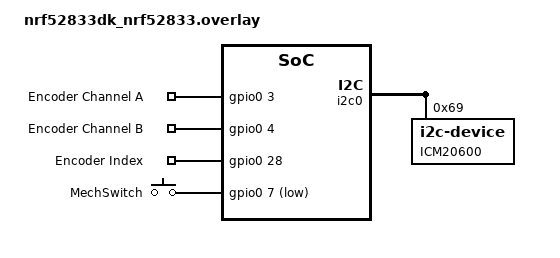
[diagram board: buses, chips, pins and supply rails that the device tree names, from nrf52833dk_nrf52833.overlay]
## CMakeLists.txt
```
#
# Copyright (c) 2020 Nordic Semiconductor ASA
#
# SPDX-License-Identifier: LicenseRef-Nordic-5-Clause
#

cmake_minimum_required(VERSION 3.20.0)

find_package(Zephyr REQUIRED HINTS $ENV{ZEPHYR_BASE})

project(openthread_coap_server)
add_compile_options(-Wno-unknown-warning-option)

FILE(GLOB app_sources src/*.c)
# NORDIC SDK APP START
target_sources(app PRIVATE ${app_sources})

target_include_directories(app PRIVATE interface)


# Caleb's secret nvim sauce
set(CMAKE_EXPORT_COMPILE_COMMANDS ON)
# NORDIC SDK APP END
target_sources(app PRIVATE src/ICM20600.h)
```

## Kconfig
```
#
# Copyright (c) 2020 Nordic Semiconductor ASA
#
# SPDX-License-Identifier: LicenseRef-Nordic-5-Clause
#

menu "Zephyr Kernel"
source "Kconfig.zephyr"
endmenu

module = COAP_SERVER
module-str = CoAP server
source "${ZEPHYR_BASE}/subsys/logging/Kconfig.template.log_config"

module = OT_COAP_UTILS
module-str = OpenThread CoAP utils
source "${ZEPHYR_BASE}/subsys/logging/Kconfig.template.log_config"

module = COAP_CLIENT_UTILS
module-str = CoAP client utilities
source "${ZEPHYR_BASE}/subsys/logging/Kconfig.template.log_config"

module = IMU
module-str = IMU 20600
source "${ZEPHYR_BASE}/subsys/logging/Kconfig.template.log_config"

module = ENCODER
module-str = Encoder AEDB_9140
source "${ZEPHYR_BASE}/subsys/logging/Kconfig.template.log_config"
```

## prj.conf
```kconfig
#
# Copyright (c) 2020 Nordic Semiconductor
#
# SPDX-License-Identifier: LicenseRef-Nordic-5-Clause
#

# nRF board library
CONFIG_DK_LIBRARY=y

# Enable OpenThread CoAP support API
CONFIG_OPENTHREAD_COAP=y

# Network shell
#CONFIG_SHELL=y
#CONFIG_OPENTHREAD_SHELL=y
#CONFIG_SHELL_ARGC_MAX=26
#CONFIG_SHELL_CMD_BUFF_SIZE=416

# Network sockets
CONFIG_NET_SOCKETS=y
CONFIG_NET_SOCKETS_POSIX_NAMES=y
CONFIG_NET_SOCKETS_POLL_MAX=4

# Same network Master Key for client and server
CONFIG_OPENTHREAD_NETWORKKEY="00:11:22:33:44:55:66:77:88:99:aa:bb:cc:dd:ee:ff"

# L2 OpenThread enabling
CONFIG_NET_L2_OPENTHREAD=y

# Generic networking options
CONFIG_NETWORKING=y

CONFIG_MBEDTLS_SHA1_C=n
CONFIG_FPU=y
#My extras
CONFIG_LOG=y
CONFIG_COAP_SERVER_LOG_LEVEL_DBG=y
CONFIG_OT_COAP_UTILS_LOG_LEVEL_DBG=y

CONFIG_HEAP_MEM_POOL_SIZE=2048

# Sam's extras
#CONFIG_I2C=y
#CONFIG_IMU_LOG_LEVEL_DBG=y
# Stuff for encoder
CONFIG_GPIO=y
CONFIG_NEWLIB_LIBC=y
CONFIG_NEWLIB_LIBC_FLOAT_PRINTF=y
CONFIG_ENCODER_LOG_LEVEL_INF=y

# Enable channel management
CONFIG_OPENTHREAD_CHANNEL_MONITOR=y
CONFIG_OPENTHREAD_CHANNEL_MANAGER=y
# Stuff for checking which channel we're in seperately.
CONFIG_NRF_802154_RADIO_CONFIG=y
CONFIG_NRF_802154_RADIO_DRIVER=y

# Client server stuff
CONFIG_LOG=y
CONFIG_COAP_CLIENT_UTILS_LOG_LEVEL_DBG=y

# Enable CoAP utils and CoAP protocol
CONFIG_COAP_UTILS=y

#Bogdan Flash usage
#CONFIG_FLASH=y

#Luke Uart
CONFIG_SERIAL=y
CONFIG_UART_ASYNC_API=y
```

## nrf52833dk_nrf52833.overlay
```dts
// To get started, press Ctrl+Space to bring up the completion menu and view the available nodes.

// You can also use the buttons in the sidebar to perform actions on nodes.
// Actions currently available include:

// * Enabling / disabling the node
// * Adding the bus to a bus
// * Removing the node
// * Connecting ADC channels

// For more help, browse the DeviceTree documentation at https://docs.zephyrproject.org/latest/guides/dts/index.html
// You can also visit the nRF DeviceTree extension documentation at https://nrfconnect.github.io/vscode-nrf-connect/devicetree/nrfdevicetree.html

&i2c0 {
    ICM20600: ICM20600@69 {
        compatible = "i2c-device";
        reg = < 0x69 >;
        label = "ICM20600";
    };
};
/ {
    encoder {
        compatible = "gpio-keys";
        encodercha: encoder_cha {
            gpios = < &gpio0 3 GPIO_ACTIVE_HIGH>;
            label = "Encoder Channel A";
        };
        encoderchb: encoder_chb {
            gpios = < &gpio0 4 GPIO_ACTIVE_HIGH>;
            label = "Encoder Channel B";
        };
        encoderindex: encoder_index {
            gpios = < &gpio0 28 GPIO_ACTIVE_HIGH>;
            label = "Encoder Index";
        };
    };
    externalswitches {
        compatible = "gpio-keys";
        mechswitch: Mech_Switch {
            gpios = < &gpio0 7 0x11>;
            label = "MechSwitch";
        };
    };
};
```

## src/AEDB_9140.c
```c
#include "AEDB_9140.h"
#include "zephyr/kernel.h"
#include <math.h>
#include <zephyr/device.h>
#include <zephyr/drivers/gpio.h>
//#include <zephyr/logging/log.h>

//LOG_MODULE_REGISTER(encoder, CONFIG_ENCODER_LOG_LEVEL);
static const struct gpio_dt_spec ChannelA_Encoder =
    GPIO_DT_SPEC_GET(DT_NODELABEL(encodercha), gpios);
static const struct gpio_dt_spec ChannelB_Encoder =
    GPIO_DT_SPEC_GET(DT_NODELABEL(encoderchb), gpios);
static const struct gpio_dt_spec ChannelI_Encoder =
    GPIO_DT_SPEC_GET(DT_NODELABEL(encoderindex), gpios);

static struct gpio_callback encoderA_callback;
static struct gpio_callback encoderB_callback;
static struct gpio_callback encoderI_callback;

static const int QEM[4][4] = {{0, -1, 1, 2},
                              {1, 0, 2, -1},
                              {-1, 2, 0, 1},
                              {2, 1, -1, 0}}; // Quadrature Encoder Matrix
int state = 0;
int oldState = 0;
int32_t position = 0;
int32_t position_prevfullrev = 0;
int32_t FullResolutionPositionCount = 0;
int32_t intVel = 0;
float floatVel = 0.0f;
int32_t intAcc = 0;
float floatAcc = 0.0f;

int aState = 0;
int bState = 0;

int32_t getIntVel(void) { return intVel; }
float getFloatVel(void) { return floatVel; }
int32_t getIntAcc(void) { return intAcc; }
float getFloatAcc(void) { return floatAcc; }
// TODO: Hold setPosition accountable to FullRotationCounter,
// prioritise FullRotationCounter readings over setposition ones, as will be
// more accurate due to less interrupts.

// NOTE: Check if splitting set position so it doesn't rely on gpio_checks makes
// it work better, e.g. one func for up on A, one for done on A, same for B etc.
// Don't seem to be able to have two seperate callbacks for one pin.

// NOTE: Reimplement callbacks to be specific to the callback type. Seems to
// take in an integer, which might be up/down information? Documentation
// suggests it's just an inbetween, doesn't actually give info to the function.

// NOTE: Disabled full rotation counting temporarily, as interrupt happens very
// close to other needed ones.

void setPosition(struct k_work *work) {
  static int oldState = 0;
  state = (bState << 1) + aState;
  position += QEM[state][oldState];
  // return state, oldState, position;
  oldState = state;
}
K_WORK_DEFINE(setPosition_work, setPosition);
void aChange() {
  aState = gpio_pin_get_dt(&ChannelA_Encoder);
  k_work_submit(&setPosition_work);
}
void bChange() {
  bState = gpio_pin_get_dt(&ChannelB_Encoder);
  k_work_submit(&setPosition_work);
}

void FullRotationCounter() {
  FullResolutionPositionCount = position - position_prevfullrev;
  position_prevfullrev = position;
  // printf("Full Rotation Counter: %d",FullResolutionPositionCount);
  // return FullResolutionPositionCount, position_prev;
}

void measure(struct k_work *work) {
  static uint8_t count = 0;
  setVelocity();
  if (count % 2 == 0) {
    setAcceleration();
  }
  //LOG_DBG("Vel: %f Acc: %f", floatVel, floatAcc);
}
K_WORK_DEFINE(measure_work, measure);

void measureInterrupt(struct k_timer *timer_id) {
  k_work_submit(&measure_work);
}
K_TIMER_DEFINE(measureTime, measureInterrupt, NULL);

void Setup_interrupt(void) {
  gpio_pin_interrupt_configure_dt(&ChannelA_Encoder, GPIO_INT_EDGE_BOTH);
  gpio_pin_interrupt_configure_dt(&ChannelB_Encoder, GPIO_INT_EDGE_BOTH);
  // gpio_pin_interrupt_configure_dt(&ChannelI_Encoder,
  // GPIO_INT_EDGE_TO_ACTIVE);
  gpio_init_callback(&encoderA_callback, aChange, BIT(ChannelA_Encoder.pin));
  gpio_add_callback(ChannelA_Encoder.port, &encoderA_callback);
  gpio_init_callback(&encoderB_callback, bChange, BIT(ChannelB_Encoder.pin));
  gpio_add_callback(ChannelB_Encoder.port, &encoderB_callback);
  // gpio_init_callback(&encoderI_callback, FullRotationCounter,
  //                    BIT(ChannelI_Encoder.pin));
  // gpio_add_callback(ChannelI_Encoder.port, &encoderI_callback);
  k_timer_start(&measureTime, K_SECONDS(0), K_MSEC(ENCODER_SAMPLE_PERIOD_MS));
}

void resetPosition(int32_t in) { position = in; return; }

int32_t getPosition(void) { return position; }
// TODO: setVelocity/setAcceleration should do calculations based on the REAL
// time not the time it thinks has passed. E.I. record time and get difference
// from last call.

// Should be called every period.
void setVelocity(void) {
  static int32_t previousPosition = 0;
  intVel = position - previousPosition;
  floatVel =
      (float)intVel * (40.85E-6) / (float)ENCODER_SAMPLE_PERIOD_MS * 1000.0f;
  previousPosition = position;
}
// Should be called every 3rd period.
void setAcceleration(void) {
  static int32_t previousVelocity = 0;
  static float previousFloatVel = 0;
  intAcc = intVel - previousVelocity;
  floatAcc = (floatVel - previousFloatVel) / (float)ENCODER_SAMPLE_PERIOD_MS /
             3.0f * 1000.0f;
  previousVelocity = intVel;
  previousFloatVel = floatVel;
}

void encoderTestLoop(void) {
  for (int i = 1;; i++) {
    //LOG_DBG("Pos: %d, Vel: %.3f, Acc: %3f\n", getPosition(), getFloatVel(),
           // getFloatAcc());
    k_msleep((int32_t)(ENCODER_SAMPLE_PERIOD_MS * 1000.0f));
    LOG_DBG("Pos: %d, Vel: %.3f, Acc: %3f\n", getPosition(), getFloatVel(),
            getFloatAcc());
    k_msleep((int32_t)(ENCODER_SAMPLE_PERIOD_MS));
    setVelocity();
    if (i % 3 == 0) {
      setAcceleration();
      i = 0;
    }
  }
}
```

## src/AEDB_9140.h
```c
#ifndef AEDB_9140_H
#define AEDB_9140_H
/*
    AEDB-9140 Encoder Header File
    Created By Samuel Walton
    Editted by Caleb Evans
    The University of Manchester
    Steps for use on Nordic NRF52833 Board
    1. Add Inputs for three pins in Device Trees in Overlay file
    2. Add this header file to target sources in "CMakeLists.txt" as
   "target_sources(app PRIVATE src/AEDB-9140.h)"
    3. Include this header file in main.c

*/
#include <zephyr/kernel.h>

#define ENCODER_SAMPLE_PERIOD_MS 100

int32_t getIntVel(void);
float getFloatVel(void);
int32_t getIntAcc(void);
float getFloatAcc(void);
int32_t getPosition(void);
void resetPosition(int32_t in);

void Setup_interrupt(void);
void encoderTestLoop(void);

// Should be called every period.
void setVelocity(void);
// Should be called every 3rd period.
void setAcceleration(void);

#endif
```

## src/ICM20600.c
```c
#include <zephyr/kernel.h>
#include <zephyr/logging/log.h>
#include <zephyr/drivers/i2c.h>

#include "ICM20600.h"

/***************************************************************
    ICM20600 I2C Register
 ***************************************************************/
#define ICM20600_XG_OFFS_TC_H           0x04
#define ICM20600_XG_OFFS_TC_L           0x05
#define ICM20600_YG_OFFS_TC_H           0x07
#define ICM20600_YG_OFFS_TC_L           0x08
#define ICM20600_ZG_OFFS_TC_H           0x0a
#define ICM20600_ZG_OFFS_TC_L           0x0b
#define ICM20600_SELF_TEST_X_ACCEL      0x0d
#define ICM20600_SELF_TEST_Y_ACCEL      0x0e
#define ICM20600_SELF_TEST_Z_ACCEL      0x0f
#define ICM20600_XG_OFFS_USRH           0x13
#define ICM20600_XG_OFFS_USRL           0x14
#define ICM20600_YG_OFFS_USRH           0x15
#define ICM20600_YG_OFFS_USRL           0x16
#define ICM20600_ZG_OFFS_USRH           0x17
#define ICM20600_ZG_OFFS_USRL           0x18
#define ICM20600_SMPLRT_DIV             0x19
#define ICM20600_CONFIG                 0x1a
#define ICM20600_GYRO_CONFIG            0x1b
#define ICM20600_ACCEL_CONFIG           0x1c
#define ICM20600_ACCEL_CONFIG2          0x1d
#define ICM20600_GYRO_LP_MODE_CFG       0x1e
#define ICM20600_ACCEL_WOM_X_THR        0x20
#define ICM20600_ACCEL_WOM_Y_THR        0x21
#define ICM20600_ACCEL_WOM_Z_THR        0x22
#define ICM20600_FIFO_EN                0x23
#define ICM20600_FSYNC_INT              0x36
#define ICM20600_INT_PIN_CFG            0x37
#define ICM20600_INT_ENABLE             0x38
#define ICM20600_FIFO_WM_INT_STATUS     0x39
#define ICM20600_INT_STATUS             0x3a
#define ICM20600_ACCEL_XOUT_H           0x3b
#define ICM20600_ACCEL_XOUT_L           0x3c
#define ICM20600_ACCEL_YOUT_H           0x3d
#define ICM20600_ACCEL_YOUT_L           0x3e
#define ICM20600_ACCEL_ZOUT_H           0x3f
#define ICM20600_ACCEL_ZOUT_L           0x40
#define ICM20600_TEMP_OUT_H             0x41
#define ICM20600_TEMP_OUT_L             0x42
#define ICM20600_GYRO_XOUT_H            0x43
#define ICM20600_GYRO_XOUT_L            0x44
#define ICM20600_GYRO_YOUT_H            0x45
#define ICM20600_GYRO_YOUT_L            0x46
#define ICM20600_GYRO_ZOUT_H            0x47
#define ICM20600_GYRO_ZOUT_L            0x48
#define ICM20600_SELF_TEST_X_GYRO       0x50
#define ICM20600_SELF_TEST_Y_GYRO       0x51
#define ICM20600_SELF_TEST_Z_GYRO       0x52
#define ICM20600_FIFO_WM_TH1            0x60
#define ICM20600_FIFO_WM_TH2            0x61
#define ICM20600_SIGNAL_PATH_RESET      0x68
#define ICM20600_ACCEL_INTEL_CTRL       0x69
#define ICM20600_USER_CTRL              0x6A
#define ICM20600_PWR_MGMT_1             0x6b
#define ICM20600_PWR_MGMT_2             0x6c
#define ICM20600_I2C_IF                 0x70
#define ICM20600_FIFO_COUNTH            0x72
#define ICM20600_FIFO_COUNTL            0x73
#define ICM20600_FIFO_R_W               0x74
#define ICM20600_WHO_AM_I               0x75
#define ICM20600_XA_OFFSET_H            0x77
#define ICM20600_XA_OFFSET_L            0x78
#define ICM20600_YA_OFFSET_H            0x7a
#define ICM20600_YA_OFFSET_L            0x7b
#define ICM20600_ZA_OFFSET_H            0x7d
#define ICM20600_ZA_OFFSET_L            0x7e

#define ICM20600_I2C_ADDR1              0x68
#define ICM20600_I2C_ADDR2              0x69

#define ICM20600_FIFO_EN_BIT            (1 << 6)
#define ICM20600_FIFO_RST_BIT           (1 << 2)
#define ICM20600_RESET_BIT              (1 << 0)
#define ICM20600_DEVICE_RESET_BIT       (1 << 7)

#define I2C0_NODE DT_NODELABEL(icm20600)

LOG_MODULE_REGISTER(imu, CONFIG_IMU_LOG_LEVEL);

// Gyroscope scale range
enum gyro_scale_type_t {
    RANGE_250_DPS = 0,
    RANGE_500_DPS,
    RANGE_1K_DPS,
    RANGE_2K_DPS,
};

// Accelerometer scale range
enum acc_scale_type_t {
    RANGE_2G = 0,
    RANGE_4G,
    RANGE_8G,
    RANGE_16G,
};

// Gyroscope output data rate
enum gyro_lownoise_odr_type_t {
    GYRO_RATE_8K_BW_3281 = 0,
    GYRO_RATE_8K_BW_250,
    GYRO_RATE_1K_BW_176,
    GYRO_RATE_1K_BW_92,
    GYRO_RATE_1K_BW_41,
    GYRO_RATE_1K_BW_20,
    GYRO_RATE_1K_BW_10,
    GYRO_RATE_1K_BW_5,
};

// Accelerometer output data rate
enum acc_lownoise_odr_type_t {
    ACC_RATE_4K_BW_1046 = 0,
    ACC_RATE_1K_BW_420,
    ACC_RATE_1K_BW_218,
    ACC_RATE_1K_BW_99,
    ACC_RATE_1K_BW_44,
    ACC_RATE_1K_BW_21,
    ACC_RATE_1K_BW_10,
    ACC_RATE_1K_BW_5,
};

// Averaging filter settings for Low Power Accelerometer mode
enum acc_averaging_sample_type_t {
    ACC_AVERAGE_4 = 0,
    ACC_AVERAGE_8,
    ACC_AVERAGE_16,
    ACC_AVERAGE_32,
};

// Averaging filter configuration for low-power gyroscope mode
enum gyro_averaging_sample_type_t {
    GYRO_AVERAGE_1 = 0,
    GYRO_AVERAGE_2,
    GYRO_AVERAGE_4,
    GYRO_AVERAGE_8,
    GYRO_AVERAGE_16,
    GYRO_AVERAGE_32,
    GYRO_AVERAGE_64,
    GYRO_AVERAGE_128,
};

// ICM20600 power mode
enum icm20600_power_type_t {
    ICM_SLEEP_MODE = 0,
    ICM_STANDYBY_MODE,
    ICM_ACC_LOW_POWER,
    ICM_ACC_LOW_NOISE,
    ICM_GYRO_LOW_POWER,
    ICM_GYRO_LOW_NOISE,
    ICM_6AXIS_LOW_POWER,
    ICM_6AXIS_LOW_NOISE,
};


//LOG_MODULE_DECLARE(imu, CONFIG_IMU_LOG_LEVEL);

int32_t Acc_x, Acc_y, Acc_z, Gyro_x, Gyro_y, Gyro_z;
int16_t Temp;
static const struct i2c_dt_spec dev_i2c = I2C_DT_SPEC_GET(I2C0_NODE);
int ret;
int8_t Buffer[16] = {0};
uint16_t _acc_scale, _gyro_scale;


uint16_t ICM20600_startup(void)
{
    printk("Starting...\n");//I2C_SPEED_GET(cfg)
    if (device_is_ready(dev_i2c.bus)) {
	printk("I2C bus %X is ready!\n\r",(uint32_t)(dev_i2c.bus->name));
    }
    

    // Get the Device ID
	ret = i2c_reg_read_byte_dt(&dev_i2c,ICM20600_WHO_AM_I,Buffer);
    printk("Stage: Config\n"); 
	ret = i2c_reg_write_byte_dt(&dev_i2c,ICM20600_CONFIG,0x00);

	// disable fifo: 1K byte FIFO buffer enables the applications processor to read the data in bursts

    printk("Stage: disabling fifo\n"); 
	ret = i2c_reg_write_byte_dt(&dev_i2c,ICM20600_FIFO_EN,0x00);
	
    //Set Power 
    uint8_t data_pwr1;
    uint8_t data_pwr2 = 0x00;
    uint8_t data_gyro_lp;
    printk("Stage: Setting Power\n"); 
    ret = i2c_reg_read_byte_dt(&dev_i2c,ICM20600_PWR_MGMT_1,Buffer); // _addr, ICM20600_PWR_MGMT_1, Buffer
    printk("Power Management 1: %X\n",Buffer[0]);
    data_pwr1 = Buffer[0];
    data_pwr1 &= 0x8f;                  // 0b10001111
    ret = i2c_reg_read_byte_dt(&dev_i2c,ICM20600_GYRO_LP_MODE_CFG,Buffer);
    printk("Power Management 2: %X\n",Buffer[0]);
    data_gyro_lp = Buffer[0];
    // When set to ‘1’ low-power gyroscope mode is enabled. Default setting is 0
    data_gyro_lp &= 0x7f;               // 0b01111111
    data_pwr1 |= 0x00;          // dont set bit5 0b00100000
    data_gyro_lp |= 0x80;        // set 0b01000000


    printk("Gyro Low Power: %X\n",data_gyro_lp);
    printk("Stage: Setting Power mode 1\n");
    ret = i2c_reg_write_byte_dt(&dev_i2c,ICM20600_PWR_MGMT_1,data_pwr1);
    printk("Stage: Setting Power mode 2\n");
    ret = i2c_reg_write_byte_dt(&dev_i2c,ICM20600_PWR_MGMT_2,data_pwr2);
    printk("Stage: Setting low power mode for Gyro \n");
    ret = i2c_reg_write_byte_dt(&dev_i2c,ICM20600_GYRO_LP_MODE_CFG,data_gyro_lp);
    
    // Gyro Config
    printk("Stage: reading Gyro Config \n");
    uint8_t data = 0;
    ret = i2c_reg_read_byte_dt(&dev_i2c,ICM20600_GYRO_CONFIG,Buffer);
    printk("Gyro Config: %X\n",Buffer[0]);
    data = Buffer[0];
    data &= 0xe7; // 0b11100111
    data |= 0x18;   // 0bxxx11xxx
    _gyro_scale = 4000;


    printk("Stage: Setting Gyro Config \n");
    ret = i2c_reg_write_byte_dt(&dev_i2c,ICM20600_GYRO_CONFIG,data);
    data = 0;
     ret = i2c_reg_read_byte_dt(&dev_i2c,ICM20600_CONFIG,Buffer);
     printk("Gyro Config: %X\n",Buffer[0]);
    data = Buffer[0];
    data &= 0xf8;
    data |= 0x01;
    printk("Stage: Setting I2c device config \n");
    ret = i2c_reg_write_byte_dt(&dev_i2c,ICM20600_CONFIG,data);
    data = 0;
    ret = i2c_reg_read_byte_dt(&dev_i2c,ICM20600_GYRO_LP_MODE_CFG,Buffer);
    printk("Gyro Config lp mode cfg(maybe 0): %X\n",Buffer[0]);
    data = Buffer[0];
    data &= 0x8f;  
    data |= 0x00;         // 0b10001111
    printk("Stage: Setting setting i2c gyro config \n");
    ret = i2c_reg_write_byte_dt(&dev_i2c,ICM20600_GYRO_CONFIG,data);
    // accel config
    data = 0;
    printk("Stage: Setting i2c accel config \n");
    ret = i2c_reg_read_byte_dt(&dev_i2c,ICM20600_ACCEL_CONFIG,Buffer);
    printk("Gyro Accleration Config: %X\n",Buffer[0]);
    data = Buffer[0];
    data &= 0xe7;
    data |= 0x18;   // 0bxxx11xxx
    _acc_scale = 32000;
    printk("Gyro Accleration Config set point: %X\n",data);
    ret = i2c_reg_write_byte_dt(&dev_i2c,ICM20600_ACCEL_CONFIG,data);
    data = 0;
    ret = i2c_reg_read_byte_dt(&dev_i2c,ICM20600_ACCEL_CONFIG2,Buffer);
    printk("Gyro Accleration Config: %X\n",Buffer[0]);
    data = Buffer[0];
    data &= 0xf0;  // 0b11110000
    data |= 0x07;
    ret = i2c_reg_write_byte_dt(&dev_i2c,ICM20600_ACCEL_CONFIG2, data);
    data = 0;
    ret = i2c_reg_read_byte_dt(&dev_i2c,ICM20600_ACCEL_CONFIG2,Buffer);
    printk("Gyro Accleration Config 2: %X\n",Buffer[0]);
    data = Buffer[0];
    data &= 0xcf; // & 0b11001111
    data |= 0x00;
    ret = i2c_reg_write_byte_dt(&dev_i2c,ICM20600_ACCEL_CONFIG2,data);
    return _acc_scale, _gyro_scale;
}

int32_t getRawAccelerationX(void) {
    ret = i2c_reg_read_byte_dt(&dev_i2c,ICM20600_ACCEL_XOUT_H,Buffer);
    int32_t raw_data = ((int16_t)Buffer[0] << 8) + Buffer[1];
    raw_data = (raw_data * _acc_scale) >> 16;
    return (int16_t)raw_data*9.81;
}

int32_t getRawAccelerationY(void) {
    ret = i2c_reg_read_byte_dt(&dev_i2c,ICM20600_ACCEL_YOUT_H,Buffer);
    int32_t raw_data = ((int16_t)Buffer[0] << 8) + Buffer[1];
    raw_data = (raw_data * _acc_scale) >> 16;
    return (int16_t)raw_data*9.81;
}

int32_t getRawAccelerationZ(void) {
    ret = i2c_reg_read_byte_dt(&dev_i2c,ICM20600_ACCEL_ZOUT_H,Buffer);
    int32_t raw_data = ((int16_t)Buffer[0] << 8) + Buffer[1];
    raw_data = (raw_data * _acc_scale) >> 16;
    return (int16_t)raw_data*9.81;
}


int16_t getRawGyroscopeX(void) {
    ret = i2c_reg_read_byte_dt(&dev_i2c,ICM20600_GYRO_XOUT_H,Buffer);
    int32_t raw_data = ((int32_t)Buffer[0] << 8) + Buffer[1];
    raw_data = (raw_data * _gyro_scale) >> 16;
    return (int16_t)raw_data;
}

int16_t getRawGyroscopeY(void) {
    ret = i2c_reg_read_byte_dt(&dev_i2c,ICM20600_GYRO_YOUT_H,Buffer);
    int32_t raw_data = ((int32_t)Buffer[0] << 8) + Buffer[1];
    raw_data = (raw_data * _gyro_scale) >> 16;
    return (int16_t)raw_data;
}

int16_t getRawGyroscopeZ(void) {
    ret = i2c_reg_read_byte_dt(&dev_i2c,ICM20600_GYRO_ZOUT_H,Buffer);
    int32_t raw_data = ((int32_t)Buffer[0] << 8) + Buffer[1];
    raw_data = (raw_data * _gyro_scale) >> 16;
    return (int16_t)raw_data;
}

int16_t getTemperature(void) {
    uint16_t rawdata;
    ret = i2c_reg_read_byte_dt(&dev_i2c,ICM20600_TEMP_OUT_H,Buffer);
    rawdata = (((uint32_t)Buffer[0]) << 8) + Buffer[1];
    return (int16_t)(rawdata / 327 + 25);
}
```

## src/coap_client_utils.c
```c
/*
 * Copyright (c) 2020 Nordic Semiconductor ASA
 *
 * SPDX-License-Identifier: LicenseRef-Nordic-5-Clause
 */

#include "coap_server_client_interface.h"
#include <net/coap_utils.h>
#include <openthread/thread.h>
#include <string.h>
#include <sys/_stdint.h>
#include <zephyr/logging/log.h>
#include <zephyr/net/openthread.h>
#include <zephyr/net/socket.h>

#include "coap_client_utils.h"
#include "node.h"
#include "zephyr/kernel.h"
#include "zephyr/net/coap.h"

LOG_MODULE_REGISTER(coap_client_utils, CONFIG_COAP_CLIENT_UTILS_LOG_LEVEL);

// How often client will poll for response.
#define RESPONSE_POLL_PERIOD 100

static int serverSelector = 0;
static int connectSelector = 0;
static int serverTarget = 0;

static uint32_t poll_period;

static bool is_connected[6];
CONNECTIONS();

static struct k_work unicast_light_work;
static struct k_work multicast_light_work;
static struct k_work toggle_MTD_SED_work;
static struct k_work provisioning_work;

static struct k_work genericSend_work;
static struct k_work floatSend_work;
static struct k_work percentageSend_work;
static struct k_work encoderSend_work;
static struct k_work commandSend_work;

// Must point to something of size GENERIC_PAYLOAD_SIZE
static char messagePointer[GENERIC_PAYLOAD_SIZE] = {};
static struct encoderMessage encoderPointer[1] = {};

static double floatPointer[1] = {};

static struct percentageStructHidden percentagePointer[1] = {};
static struct commandMsg cmdPointer[1] = {};
static int cmdDoMulti = 0;

mtd_mode_toggle_cb_t on_mtd_mode_toggle;

/* Options supported by the server */
static const char *const light_option[] = {LIGHT_URI_PATH, NULL};
static const char *const provisioning_option[] = {PROVISIONING_URI_PATH, NULL};
static const char *const generic_option[] = {GENERIC_URI_PATH, NULL};
static const char *const float_option[] = {FLOAT_URI_PATH, NULL};
static const char *const percentage_option[] = {PERCENTAGE_URI_PATH, NULL};
static const char *const encoder_option[] = {ENCODER_URI_PATH, NULL};
static const char *const cmd_option[] = {CMD_URI_PATH, NULL};

/* Thread multicast mesh local address */
static struct sockaddr_in6 multicast_local_addr = {
    .sin6_family = AF_INET6,
    .sin6_port = htons(COAP_PORT),
    .sin6_addr.s6_addr = {0xff, 0x03, 0x00, 0x00, 0x00, 0x00, 0x00, 0x00, 0x00,
                          0x00, 0x00, 0x00, 0x00, 0x00, 0x00, 0x01},
    .sin6_scope_id = 0U};

/* Variable for storing server address acquiring in provisioning handshake */
static char unique_local_addr_str[6][INET6_ADDRSTRLEN];
static struct sockaddr_in6 unique_local_addr[6] = {
    {.sin6_family = AF_INET6,
     .sin6_port = htons(COAP_PORT),
     .sin6_addr.s6_addr =
         {
             0,
         },
     .sin6_scope_id = 0U},
    {.sin6_family = AF_INET6,
     .sin6_port = htons(COAP_PORT),
     .sin6_addr.s6_addr =
         {
             0,
         },
     .sin6_scope_id = 0U},
    {.sin6_family = AF_INET6,
     .sin6_port = htons(COAP_PORT),
     .sin6_addr.s6_addr =
         {
             0,
         },
     .sin6_scope_id = 0U},
    {.sin6_family = AF_INET6,
     .sin6_port = htons(COAP_PORT),
     .sin6_addr.s6_addr =
         {
             0,
         },
     .sin6_scope_id = 0U},
    {.sin6_family = AF_INET6,
     .sin6_port = htons(COAP_PORT),
     .sin6_addr.s6_addr =
         {
             0,
         },
     .sin6_scope_id = 0U},
    {.sin6_family = AF_INET6,
     .sin6_port = htons(COAP_PORT),
     .sin6_addr.s6_addr =
         {
             0,
         },
     .sin6_scope_id = 0U}};

// m
void serverScroll(void) {
  connectSelector++;
  connectSelector = connectSelector % SERVERS;
  serverSelector = connections[connectSelector];
  LOG_INF("Server %i | On? %i | Addr %s", serverSelector,
          is_connected[serverSelector], unique_local_addr_str[serverSelector]);
}
// m/

static bool is_mtd_in_med_mode(otInstance *instance) {
  return otThreadGetLinkMode(instance).mRxOnWhenIdle;
}

static void poll_period_response_set(void) {
  otError error;

  otInstance *instance = openthread_get_default_instance();

  if (is_mtd_in_med_mode(instance)) {
    return;
  }

  if (!poll_period) {
    poll_period = otLinkGetPollPeriod(instance);

    error = otLinkSetPollPeriod(instance, RESPONSE_POLL_PERIOD);
    __ASSERT(error == OT_ERROR_NONE, "Failed to set pool period");

    LOG_INF("Poll Period: %dms set", RESPONSE_POLL_PERIOD);
  }
}

static void poll_period_restore(void) {
  otError error;
  otInstance *instance = openthread_get_default_instance();

  if (is_mtd_in_med_mode(instance)) {
    return;
  }

  if (poll_period) {
    error = otLinkSetPollPeriod(instance, poll_period);
    __ASSERT_NO_MSG(error == OT_ERROR_NONE);

    LOG_INF("Poll Period: %dms restored", poll_period);
    poll_period = 0;
  }
}

static int on_provisioning_reply(const struct coap_packet *response,
                                 struct coap_reply *reply,
                                 const struct sockaddr *from) {
  int ret = 0;
  const uint8_t *payload;
  uint16_t payload_size = 0u;

  ARG_UNUSED(reply);
  ARG_UNUSED(from);

  payload = coap_packet_get_payload(response, &payload_size);

  if (payload == NULL ||
      payload_size != sizeof(unique_local_addr[serverSelector].sin6_addr)) {
    LOG_ERR("Received data is invalid");
    ret = -EINVAL;
    goto exit;
  }

  memcpy(&unique_local_addr[serverSelector].sin6_addr, payload, payload_size);

  if (!inet_ntop(AF_INET6, payload, unique_local_addr_str[serverSelector],
                 INET6_ADDRSTRLEN)) {
    LOG_ERR("Received data is not IPv6 address: %d", errno);
    ret = -errno;
    goto exit;
  }

  LOG_INF("Received peer address: %s for %d",
          unique_local_addr_str[serverSelector], serverSelector);

exit:
  if (IS_ENABLED(CONFIG_OPENTHREAD_MTD_SED)) {
    poll_period_restore();
  }

  return ret;
}

static void toggle_one_light(struct k_work *item) {
  uint8_t payload = (uint8_t)THREAD_COAP_UTILS_LIGHT_CMD_TOGGLE;

  ARG_UNUSED(item);

  if (unique_local_addr[serverSelector].sin6_addr.s6_addr16[0] == 0) {
    LOG_WRN("Peer address not set. Activate 'provisioning' option "
            "on the server side");
    return;
  }

  LOG_INF("Send 'light' request to: %s", unique_local_addr_str[serverSelector]);
  coap_send_request(COAP_METHOD_PUT,
                    (const struct sockaddr *)&unique_local_addr[serverSelector],
                    light_option, &payload, sizeof(payload), NULL);
}

static void toggle_mesh_lights(struct k_work *item) {
  static uint8_t command = (uint8_t)THREAD_COAP_UTILS_LIGHT_CMD_OFF;

  ARG_UNUSED(item);

  command = ((command == THREAD_COAP_UTILS_LIGHT_CMD_OFF)
                 ? THREAD_COAP_UTILS_LIGHT_CMD_ON
                 : THREAD_COAP_UTILS_LIGHT_CMD_OFF);

  LOG_INF("Send multicast mesh 'light' request");
  coap_send_request(COAP_METHOD_PUT,
                    (const struct sockaddr *)&multicast_local_addr,
                    light_option, &command, sizeof(command), NULL);
}

static void send_provisioning_request(struct k_work *item) {
  ARG_UNUSED(item);

  if (IS_ENABLED(CONFIG_OPENTHREAD_MTD_SED)) {
    /* decrease the polling period for higher responsiveness */
    poll_period_response_set();
  }

  LOG_INF("Send 'provisioning' request");
  coap_send_request(COAP_METHOD_GET,
                    (const struct sockaddr *)&multicast_local_addr,
                    provisioning_option, NULL, 0u, on_provisioning_reply);
}
// m
static void genericSend(struct k_work *item) {
  ARG_UNUSED(item);

  LOG_DBG("Generic send to %s", unique_local_addr_str[serverTarget]);

  if (coap_send_request(
          COAP_METHOD_PUT,
          (const struct sockaddr *)&unique_local_addr[serverTarget],
          generic_option, messagePointer, GENERIC_PAYLOAD_SIZE, NULL) >= 0) {

    LOG_DBG("Generic message send success!\n%s", messagePointer);
  } else {
    LOG_DBG("Generic message send fail.\n%s", messagePointer);
  }
}
static void floatSend(struct k_work *item) {
  ARG_UNUSED(item);
  LOG_DBG("Float send to %s", unique_local_addr_str[serverTarget]);
  if (coap_send_request(
          COAP_METHOD_PUT,
          (const struct sockaddr *)&unique_local_addr[serverTarget],
          float_option, (char *)floatPointer, sizeof(double), NULL) >= 0) {

    LOG_DBG("Float message send success!\n%.3f", *floatPointer);
  } else {
    LOG_DBG("Float message send fail.\n%.3f", *floatPointer);
  }
}
static void percentageSend(struct k_work *item) {
  ARG_UNUSED(item);
  if (coap_send_request(
          COAP_METHOD_PUT,
          (const struct sockaddr *)&unique_local_addr[serverTarget],
          percentage_option, (char *)percentagePointer, PERCENTAGE_PAYLOAD_SIZE,
          NULL) >= 0) {
    LOG_DBG("Percentage message send success!\n%s",
            percentagePointer->identifier);
  } else {
    LOG_DBG("Percentage message send fail.\n%s", percentagePointer->identifier);
  }
}
static void encoderSend(struct k_work *item) {
  ARG_UNUSED(item);
  if (coap_send_request(
          COAP_METHOD_PUT,
          (const struct sockaddr *)&unique_local_addr[serverTarget],
          encoder_option, (char *)encoderPointer, ENCODER_PAYLOAD_SIZE,
          NULL) >= 0) {
    LOG_DBG("Encoder message send success!\n");
  } else {
    LOG_DBG("Encoder message send fail!\n");
  }
}
static void cmdSend(struct k_work *item) {
  const struct sockaddr *address;
  if (cmdDoMulti) {
    address = (const struct sockaddr *)&multicast_local_addr;
  } else {
    address = (const struct sockaddr *)&unique_local_addr[serverTarget];
  }
  ARG_UNUSED(item);
  if (coap_send_request(COAP_METHOD_PUT, address, cmd_option,
                        (char *)cmdPointer, CMD_PAYLOAD_SIZE, NULL) >= 0) {
    LOG_DBG("Cmd message send success!\n");
  } else {
    LOG_DBG("Cmd message send fail!\n");
  }
}
// m/

static void submit_work_if_connected(struct k_work *work) {
  //  if (is_connected[serverTarget]) {
  if (serverTarget == -1) {
    LOG_DBG("Multicast Target!");
  } else {
    LOG_DBG("Target is %d AKA %s", serverTarget,
            unique_local_addr_str[serverTarget]);
  }
  if (true) {
    k_work_submit(work);
  } else {
    LOG_INF("Connection is broken");
  }
}

// Don't need on connection/toggles because server code handles light on joint
// node.
void coap_client_utils_init(/*
				ot_connection_cb_t on_connect,
			    ot_disconnection_cb_t on_disconnect,
			    mtd_mode_toggle_cb_t on_toggle
				*/)
{
  // on_mtd_mode_toggle = on_toggle;

  coap_init(AF_INET6, NULL);

  // k_work_init(&on_connect_work, on_connect);
  // k_work_init(&on_disconnect_work, on_disconnect);
  k_work_init(&unicast_light_work, toggle_one_light);
  k_work_init(&multicast_light_work, toggle_mesh_lights);
  k_work_init(&provisioning_work, send_provisioning_request);

  k_work_init(&genericSend_work, genericSend);
  k_work_init(&floatSend_work, floatSend);
  k_work_init(&percentageSend_work, percentageSend);
  k_work_init(&encoderSend_work, encoderSend);
  k_work_init(&commandSend_work, cmdSend);

  // openthread_state_changed_cb_register(openthread_get_default_context(),
  // &ot_state_chaged_cb); openthread_start(openthread_get_default_context());
  /*
  if (IS_ENABLED(CONFIG_OPENTHREAD_MTD_SED)) {
          k_work_init(&toggle_MTD_SED_work,
                      toggle_minimal_sleepy_end_device);
          update_device_state();
  }
  */
  serverSelector = connections[0];
}

void coap_client_toggle_one_light(void) {
  submit_work_if_connected(&unicast_light_work);
}

void coap_client_toggle_mesh_lights(void) {
  submit_work_if_connected(&multicast_light_work);
}

void coap_client_send_provisioning_request(void) {
  k_work_submit(&provisioning_work);
}

void coap_client_genericSend(int server, char *msg) {
  memcpy(messagePointer, msg, GENERIC_PAYLOAD_SIZE);
  serverTarget = server;
  submit_work_if_connected(&genericSend_work);
}

void coap_client_floatSend(int server, double num) {
  memcpy(floatPointer, &num, sizeof(double));
  serverTarget = server;
  submit_work_if_connected(&floatSend_work);
}

void coap_client_toggle_minimal_sleepy_end_device(void) {
  if (IS_ENABLED(CONFIG_OPENTHREAD_MTD_SED)) {
    k_work_submit(&toggle_MTD_SED_work);
  }
}
void coap_client_percentageSend(int server, struct percentageStruct input) {
  static uint16_t counter = 0;
  for (int i = 0; i < 3; i++) {
    percentagePointer->percentages[i] =
        input.percentages[i] * (double)4294967295;
  }
  memcpy(&percentagePointer->identifier, &input.identifier, 8);
  counter++;
  serverTarget = server;
  submit_work_if_connected(&percentageSend_work);
}
void coap_client_encoderSend(int server, struct encoderMessage input) {
  static uint16_t counter = 0;
  memcpy(encoderPointer, &input, ENCODER_PAYLOAD_SIZE);
  encoderPointer->messageNum = counter;
  encoderPointer->nodeOrigin = NODE;
  counter++;
  serverTarget = server;
  submit_work_if_connected(&encoderSend_work);
}

void coap_client_cmdSend(int server, struct commandMsg input) {
  static uint16_t counter = 0;
  cmdDoMulti = -1 == server;
  memcpy(cmdPointer, &input, CMD_PAYLOAD_SIZE);
  encoderPointer->messageNum = counter;
  encoderPointer->nodeOrigin = NODE;
  counter++;
  serverTarget = server;
  submit_work_if_connected(&commandSend_work);
}
```

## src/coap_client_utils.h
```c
/**
 * @file
 * @defgroup coap_client_utils API for coap_client_* samples
 * @{
 */

/*
 * Copyright (c) 2020 Nordic Semiconductor ASA
 *
 * SPDX-License-Identifier: LicenseRef-Nordic-5-Clause
 */

#ifndef __COAP_CLIENT_UTILS_H__
#define __COAP_CLIENT_UTILS_H__
#include <zephyr/kernel.h>
#include "coap_server_client_interface.h"

/** @brief Type indicates function called when OpenThread connection
 *         is established.
 *
 * @param[in] item pointer to work item.
 */
typedef void (*ot_connection_cb_t)(struct k_work *item);

/** @brief Type indicates function called when OpenThread connection is ended.
 *
 * @param[in] item pointer to work item.
 */
typedef void (*ot_disconnection_cb_t)(struct k_work *item);

/** @brief Type indicates function called when the MTD modes are toggled.
 *
 * @param[in] val 1 if the MTD is in MED mode
 *                0 if the MTD is in SED mode
 */
typedef void (*mtd_mode_toggle_cb_t)(uint32_t val);

/** @brief Initialize CoAP client utilities.
 */
void coap_client_utils_init(
				/*ot_connection_cb_t on_connect,
			    ot_disconnection_cb_t on_disconnect,
			    mtd_mode_toggle_cb_t on_toggle*/);

/** @brief Toggle light on the CoAP server node.
 *
 * @note The CoAP server should be paired before to have an affect.
 */
void coap_client_toggle_one_light(void);

/** @brief Toggle lights on all CoAP servers in the network mesh.
 */
void coap_client_toggle_mesh_lights(void);

/** @brief Request for the CoAP server address to pair.
 *
 * @note Enable paring on the CoAP server to get the address.
 */
void coap_client_send_provisioning_request(void);

/** @brief Toggle SED to MED and MED to SED modes.
 *
 * @note Active when the device is working as Minimal Thread Device.
 */
void coap_client_toggle_minimal_sleepy_end_device(void);

void coap_client_genericSend(int server,char *msg);
void coap_client_floatSend(int server,double num);
void coap_client_percentageSend(int server,struct percentageStruct input);
void coap_client_encoderSend(int server,struct encoderMessage input);
void coap_client_cmdSend(int server, struct commandMsg input);

void serverScroll(void);

#endif

/**
 * @}
 */
```

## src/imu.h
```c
#ifndef __IMU_H__
#define __IMU_H__
#include <zephyr/kernel.h>
void ICM20600_startup(void);
int32_t getRawAccelerationX(void);
int32_t getRawAccelerationY(void);
int32_t getRawAccelerationZ(void);
int16_t getRawGyroscopeX(void);
int16_t getRawGyroscopeY(void);
int16_t getRawGyroscopeZ(void);
int16_t getTemperature(void);
void imuTestLoop(void);
void complementaryFilter(void);
double getCompTheta(void);
double getCompPhi(void);
double getCompPsi(void);
#endif
```

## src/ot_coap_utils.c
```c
/*
 * Copyright (c) 2020 Nordic Semiconductor ASA
 *
 * SPDX-License-Identifier: LicenseRef-Nordic-5-Clause
 */

#include <openthread/coap.h>
#include <openthread/ip6.h>
#include <openthread/message.h>
#include <openthread/thread.h>
#include <zephyr/logging/log.h>
#include <zephyr/net/net_l2.h>
#include <zephyr/net/net_pkt.h>
#include <zephyr/net/openthread.h>
#include <zephyr/net/socket.h>

#include "coap_server_client_interface.h"
#include "ot_coap_utils.h"

#include <net/coap_utils.h>

LOG_MODULE_REGISTER(ot_coap_utils, CONFIG_OT_COAP_UTILS_LOG_LEVEL);

double message_double;
bool val=false;

struct server_context {
  struct otInstance *ot;
  bool provisioning_enabled;
  light_request_callback_t on_light_request;
  provisioning_request_callback_t on_provisioning_request;
  generic_request_callback_t on_generic_request;
  float_request_callback_t on_float_request;
  percentage_request_callback_t on_percentage_request;
  encoder_request_callback_t on_encoder_request;
  cmd_request_callback_t on_cmd_request;
};

static struct server_context srv_context = {
    .ot = NULL,
    .provisioning_enabled = false,
    .on_light_request = NULL,
    .on_provisioning_request = NULL,
    .on_generic_request = NULL,
    .on_encoder_request = NULL,
};

/**@brief Definition of CoAP resources for provisioning. */
static otCoapResource provisioning_resource = {
    .mUriPath = PROVISIONING_URI_PATH,
    .mHandler = NULL,
    .mContext = NULL,
    .mNext = NULL,
};

/**@brief Definition of CoAP resources for light. */
static otCoapResource light_resource = {
    .mUriPath = LIGHT_URI_PATH,
    .mHandler = NULL,
    .mContext = NULL,
    .mNext = NULL,
};

static otCoapResource generic_resource = {.mUriPath = GENERIC_URI_PATH,
                                          .mHandler = NULL,
                                          .mContext = NULL,
                                          .mNext = NULL};

static otCoapResource float_resource = {.mUriPath = FLOAT_URI_PATH,
                                        .mHandler = NULL,
                                        .mContext = NULL,
                                        .mNext = NULL};
static otCoapResource percentage_resource = {.mUriPath = PERCENTAGE_URI_PATH,
                                        .mHandler = NULL,
                                        .mContext = NULL,
                                        .mNext = NULL};
static otCoapResource encoder_resource = {.mUriPath = ENCODER_URI_PATH,
                                        .mHandler = NULL,
                                        .mContext = NULL,
                                        .mNext = NULL};
static otCoapResource cmd_resource = {.mUriPath = CMD_URI_PATH,
                                        .mHandler = NULL,
                                        .mContext = NULL,
                                        .mNext = NULL};

static otError provisioning_response_send(otMessage *request_message,
                                          const otMessageInfo *message_info) {
  otError error = OT_ERROR_NO_BUFS;
  otMessage *response;
  const void *payload;
  uint16_t payload_size;

  response = otCoapNewMessage(srv_context.ot, NULL);
  if (response == NULL) {
    goto end;
  }

  otCoapMessageInit(response, OT_COAP_TYPE_NON_CONFIRMABLE,
                    OT_COAP_CODE_CONTENT);

  error =
      otCoapMessageSetToken(response, otCoapMessageGetToken(request_message),
                            otCoapMessageGetTokenLength(request_message));
  if (error != OT_ERROR_NONE) {
    goto end;
  }

  error = otCoapMessageSetPayloadMarker(response);
  if (error != OT_ERROR_NONE) {
    goto end;
  }

  payload = otThreadGetMeshLocalEid(srv_context.ot);
  payload_size = sizeof(otIp6Address);

  error = otMessageAppend(response, payload, payload_size);
  if (error != OT_ERROR_NONE) {
    goto end;
  }

  // Sends response back as a return
  error = otCoapSendResponse(srv_context.ot, response, message_info);

  LOG_HEXDUMP_INF(payload, payload_size, "Sent provisioning response:");

end:
  if (error != OT_ERROR_NONE && response != NULL) {
    otMessageFree(response);
  }

  return error;
}

static void provisioning_request_handler(void *context, otMessage *message,
                                         const otMessageInfo *message_info) {
  otError error;
  otMessageInfo msg_info;

  ARG_UNUSED(context);

  if (!srv_context.provisioning_enabled) {
    LOG_WRN("Received provisioning request but provisioning "
            "is disabled");
    return;
  }

  LOG_INF("Received provisioning request");

  if ((otCoapMessageGetType(message) == OT_COAP_TYPE_NON_CONFIRMABLE) &&
      (otCoapMessageGetCode(message) == OT_COAP_CODE_GET)) {
    msg_info = *message_info;
    memset(&msg_info.mSockAddr, 0, sizeof(msg_info.mSockAddr));

    error = provisioning_response_send(message, &msg_info);
    if (error == OT_ERROR_NONE) {
      srv_context.on_provisioning_request();
      srv_context.provisioning_enabled = false;
    }
  }
}

static void light_request_handler(void *context, otMessage *message,
                                  const otMessageInfo *message_info) {
  uint8_t command;

  ARG_UNUSED(context);

  if (otCoapMessageGetType(message) != OT_COAP_TYPE_NON_CONFIRMABLE) {
    LOG_ERR("Light handler - Unexpected type of message");
    goto end;
  }

  if (otCoapMessageGetCode(message) != OT_COAP_CODE_PUT) {
    LOG_ERR("Light handler - Unexpected CoAP code");
    goto end;
  }

  if (otMessageRead(message, otMessageGetOffset(message), &command, 1) != 1) {
    LOG_ERR("Light handler - Missing light command");
    goto end;
  }

  LOG_INF("Received light request: %c", command);

  srv_context.on_light_request(command);

end:
  return;
}
// m
// My new handler for just sending text messages to one another.
static void generic_request_handler(void *context, otMessage *message,
                                    const otMessageInfo *message_info) {
  // Need to do this with malloc if it's going to be accessed outside this
  // function using srv_context.
  char myBuffer[GENERIC_PAYLOAD_SIZE] = {};

  // otMessageLength could be used in place of generic payload size.

  otMessageRead(message, otMessageGetOffset(message), &myBuffer,
                GENERIC_PAYLOAD_SIZE);

  ARG_UNUSED(context);
  ARG_UNUSED(message_info);

  LOG_INF("Message received is:\n%s", myBuffer);

  srv_context.on_generic_request(myBuffer);
}
// m/
static void float_request_handler(void *context, otMessage *message,
                                  const otMessageInfo *message_info) {
  // Need to do this with malloc if it's going to be accessed outside this
  // function using srv_context.
  double myBuffer = 0.0;

  // otMessageLength could be used in place of generic payload size.

  otMessageRead(message, otMessageGetOffset(message), &myBuffer,
                sizeof(double));
  if(val){
    dk_set_led_on(3);
  }
  else{
    dk_set_led_off(3);
  }
  val= !val;
  
  ARG_UNUSED(context);
  ARG_UNUSED(message_info);

  message_double = myBuffer;
  LOG_INF("Message received is:\n%f", myBuffer);
  
  srv_context.on_float_request(myBuffer);
}
static void percentage_request_handler(void *context, otMessage *message, const otMessageInfo *message_info) {
  struct percentageStructHidden myBuffer = {};
  otMessageRead(message, otMessageGetOffset(message), &myBuffer, PERCENTAGE_PAYLOAD_SIZE);
  struct percentageStruct out = {};

  ARG_UNUSED(context);
  ARG_UNUSED(message_info);

  LOG_INF("Label for percentage received: %s",myBuffer.identifier);
  for (int i = 0; i<3; i++) {
    out.percentages[i] = (double)myBuffer.percentages[i] / (double)4294967295;
  }
  LOG_INF("Percentages are: %f %f %f",out.percentages[0],out.percentages[1],out.percentages[2]);
  memcpy(&out.identifier,&myBuffer.identifier,8);
  out.messsageNum = myBuffer.messageNum;
  srv_context.on_percentage_request(out);
}
static void encoder_request_handler(void *context, otMessage *message,
                                  const otMessageInfo *message_info) {
  // Need to do this with malloc if it's going to be accessed outside this
  // function using srv_context.
  struct encoderMessage myBuffer = {};

  // otMessageLength could be used in place of generic payload size.

  otMessageRead(message, otMessageGetOffset(message), &myBuffer,
                ENCODER_PAYLOAD_SIZE);

  ARG_UNUSED(context);
  ARG_UNUSED(message_info);
  srv_context.on_encoder_request(myBuffer);
}
static void cmd_request_handler(void *context, otMessage *message,
                                  const otMessageInfo *message_info) {
  // Need to do this with malloc if it's going to be accessed outside this
  // function using srv_context.
  struct commandMsg myBuffer = {};

  // otMessageLength could be used in place of generic payload size.

  otMessageRead(message, otMessageGetOffset(message), &myBuffer,
                CMD_PAYLOAD_SIZE);

  ARG_UNUSED(context);
  ARG_UNUSED(message_info);
  srv_context.on_cmd_request(myBuffer);
}

double get_double(void){
  return message_double;
}

static void coap_default_handler(void *context, otMessage *message,
                                 const otMessageInfo *message_info) {
  ARG_UNUSED(context);
  ARG_UNUSED(message);
  ARG_UNUSED(message_info);

  LOG_INF("Received CoAP message that does not match any request "
          "or resource");
}

void ot_coap_activate_provisioning(void) {
  srv_context.provisioning_enabled = true;
}

void ot_coap_deactivate_provisioning(void) {
  srv_context.provisioning_enabled = false;
}

bool ot_coap_is_provisioning_active(void) {
  return srv_context.provisioning_enabled;
}

int ot_coap_init(provisioning_request_callback_t on_provisioning_request,
                 light_request_callback_t on_light_request,
                 generic_request_callback_t on_generic_request,
                 float_request_callback_t on_float_request,
                 percentage_request_callback_t on_percentage_request,
                 encoder_request_callback_t on_encoder_request,
                 cmd_request_callback_t on_cmd_request) {
  otError error;

  srv_context.provisioning_enabled = false;
  srv_context.on_provisioning_request = on_provisioning_request;
  srv_context.on_light_request = on_light_request;
  // m
  srv_context.on_generic_request = on_generic_request;
  srv_context.on_float_request = on_float_request;
  srv_context.on_percentage_request = on_percentage_request;
  srv_context.on_encoder_request = on_encoder_request;
  srv_context.on_cmd_request = on_cmd_request;
  // m/

  srv_context.ot = openthread_get_default_instance();
  if (!srv_context.ot) {
    LOG_ERR("There is no valid OpenThread instance");
    error = OT_ERROR_FAILED;
    goto end;
  }

  provisioning_resource.mContext = srv_context.ot;
  provisioning_resource.mHandler = provisioning_request_handler;

  light_resource.mContext = srv_context.ot;
  light_resource.mHandler = light_request_handler;

  // m
  generic_resource.mContext = srv_context.ot;
  generic_resource.mHandler = generic_request_handler;

  float_resource.mContext = srv_context.ot;
  float_resource.mHandler = float_request_handler;

  percentage_resource.mContext=srv_context.ot;
  percentage_resource.mHandler=percentage_request_handler;

  encoder_resource.mContext=srv_context.ot;
  encoder_resource.mHandler=encoder_request_handler;

  cmd_resource.mContext=srv_context.ot;
  cmd_resource.mHandler=cmd_request_handler;
  // m/

  otCoapSetDefaultHandler(srv_context.ot, coap_default_handler, NULL);
  otCoapAddResource(srv_context.ot, &light_resource);
  otCoapAddResource(srv_context.ot, &provisioning_resource);
  // m
  otCoapAddResource(srv_context.ot, &generic_resource);
  otCoapAddResource(srv_context.ot, &float_resource);
  otCoapAddResource(srv_context.ot, &percentage_resource);
  otCoapAddResource(srv_context.ot, &encoder_resource);
  otCoapAddResource(srv_context.ot, &cmd_resource);
  // m/

  error = otCoapStart(srv_context.ot, COAP_PORT);
  if (error != OT_ERROR_NONE) {
    LOG_ERR("Failed to start OT CoAP. Error: %d", error);
    goto end;
  }
end:
  return error == OT_ERROR_NONE ? 0 : 1;
}
```

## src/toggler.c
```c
#include "toggler.h"
#include <zephyr/kernel.h>
#include <dk_buttons_and_leds.h>

//TODO: Change this to use proper device tree as samuel did, not DK buttons and leds.

void togglePinSetup(void) {
}
void toggleClientPin(void) {
  static int toggle = 0;
  dk_set_led(DK_LED2, toggle);
  toggle = !toggle;
}
void toggleServerPin(void) {
  static int toggle = 0;
  dk_set_led(DK_LED4, toggle);
  toggle = !toggle;
}
```
